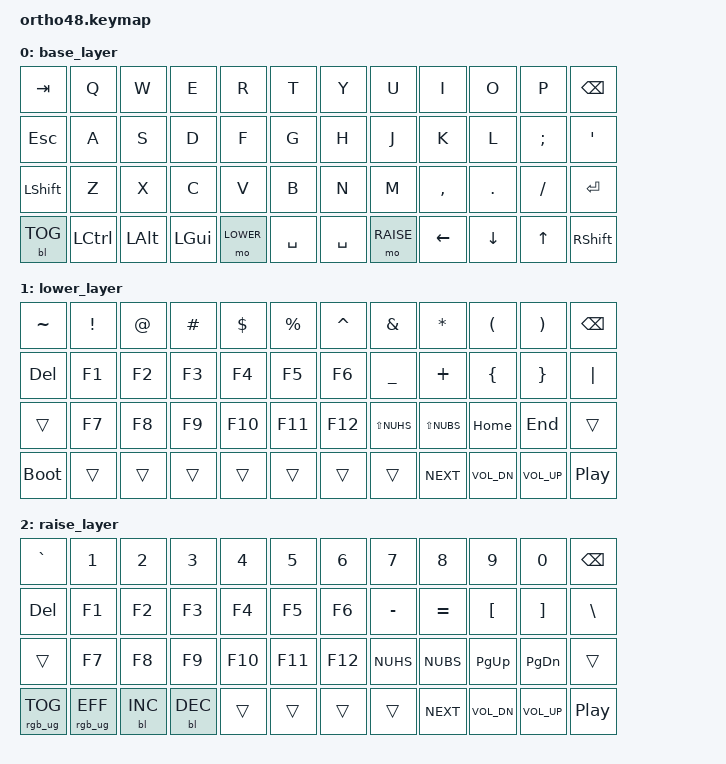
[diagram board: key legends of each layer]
// Copyright (c) 2024 will-hedges <https://github.com/will-hedges>
// SPDX-License-Identifier: MIT


/*
    NOTE: I have not used an RGB strip with this keyboard, so all RGB features are UNTESTED. 
        See RGB config in:
            * ./boards/pillbug.overlay
            * ./Kconfig.defconfig
            * ./ortho48.overlay
*/


#include <behaviors.dtsi>
#include <dt-bindings/zmk/keys.h>
#include <dt-bindings/zmk/backlight.h>
#include <dt-bindings/zmk/rgb.h>


#define BASE  0
#define LOWER 1
#define RAISE 2


/ {
    keymap {
        compatible = "zmk,keymap";

        base_layer {
            /* BASE
            *  -----------------------------------------------------------------------------------.
            * | Tab  |   Q  |   W  |   E  |   R  |   T  |   Y  |   U  |   I  |   O  |   P  | Bksp |
            * |------+------+------+------+------+-------------+------+------+------+------+------|
            * | Esc  |   A  |   S  |   D  |   F  |   G  |   H  |   J  |   K  |   L  |   ;  |  "   |
            * |------+------+------+------+------+------|------+------+------+------+------+------|
            * | Shift|   Z  |   X  |   C  |   V  |   B  |   N  |   M  |      |   .  |   /  |Enter |
            * |------+------+------+------+------+------+------+------+------+------+------+------|
            * | Brite| Ctrl | Alt  | GUI  |Lower |    Space    |Raise | Left | Down |  Up  |Right |
            * `-----------------------------------------------------------------------------------'
            */

            bindings = <
                &kp TAB     &kp Q      &kp W     &kp E     &kp R      &kp T      &kp Y      &kp U      &kp I      &kp O     &kp P     &kp BSPC 
                &kp ESC     &kp A      &kp S     &kp D     &kp F      &kp G      &kp H      &kp J      &kp K      &kp L     &kp SEMI  &kp SQT 
                &kp LSHFT   &kp Z      &kp X     &kp C     &kp V      &kp B      &kp N      &kp M      &kp COMMA  &kp DOT   &kp FSLH  &kp ENTER  
                &bl BL_TOG  &kp LCTRL  &kp LALT  &kp LGUI  &mo LOWER  &kp SPACE  &kp SPACE  &mo RAISE  &kp LEFT   &kp DOWN  &kp UP    &kp RSHFT
            >;
        };

        lower_layer {
            /* LOWER
            *  -----------------------------------------------------------------------------------.
            * |   ~  |   !  |   @  |   #  |   $  |   %  |   ^  |   &  |   *  |   (  |   )  | Bksp |
            * |------+------+------+------+------+-------------+------+------+------+------+------|
            * | Del  |  F1  |  F2  |  F3  |  F4  |  F5  |  F6  |   _  |   +  |   {  |   }  |  |   |
            * |------+------+------+------+------+------|------+------+------+------+------+------|
            * |      |  F7  |  F8  |  F9  |  F10 |  F11 |  F12 |ISO ~ |ISO | | Home | End  |      |
            * |------+------+------+------+------+------+------+------+------+------+------+------|
            * | BOOT |      |      |      |      |             |      | Next | Vol- | Vol+ | Play |
            * `-----------------------------------------------------------------------------------'
            */

            bindings = <
                &kp TILDE    &kp EXCL  &kp AT   &kp HASH  &kp DLLR  &kp PRCNT  &kp CARET  &kp AMPS      &kp ASTRK     &kp LPAR      &kp RPAR      &kp BSPC 
                &kp DEL      &kp F1    &kp F2   &kp F3    &kp F4    &kp F5     &kp F6     &kp UNDER     &kp PLUS      &kp LBRC      &kp RBRC      &kp PIPE 
                &trans       &kp F7    &kp F8   &kp F9    &kp F10   &kp F11    &kp F12    &kp LS(NUHS)  &kp LS(NUBS)  &kp HOME      &kp END       &trans 
                &bootloader  &trans    &trans   &trans    &trans    &trans     &trans     &trans        &kp C_NEXT    &kp C_VOL_DN  &kp C_VOL_UP  &kp C_PP
            >;
        };

        raise_layer {
            /* RAISE
            * ,-----------------------------------------------------------------------------------.
            * |   `  |   1  |   2  |   3  |   4  |   5  |   6  |   7  |   8  |   9  |   0  | Bksp |
            * |------+------+------+------+------+-------------+------+------+------+------+------|
            * | Del  |  F1  |  F2  |  F3  |  F4  |  F5  |  F6  |   -  |   =  |   [  |   ]  |  \   |
            * |------+------+------+------+------+------|------+------+------+------+------+------|
            * |      |  F7  |  F8  |  F9  |  F10 |  F11 |  F12 |ISO # |ISO / |Pg Up |Pg Dn |      |
            * |------+------+------+------+------+------+------+------+------+------+------+------|
            * |RGBTOG|RGBMOD| BL UP| BL DN|      |             |      | Next | Vol- | Vol+ | Play |
            * `-----------------------------------------------------------------------------------'
            */

            bindings = <
                &kp GRAVE        &kp N1           &kp N2      &kp N3      &kp N4   &kp N5   &kp N6   &kp N7     &kp N8      &kp N9        &kp N0        &kp BSPC 
                &kp DEL          &kp F1           &kp F2      &kp F3      &kp F4   &kp F5   &kp F6   &kp MINUS  &kp EQUAL   &kp LBKT      &kp RBKT      &kp BSLH 
                &trans           &kp F7           &kp F8      &kp F9      &kp F10  &kp F11  &kp F12  &kp NUHS   &kp NUBS    &kp PG_UP     &kp PG_DN     &trans 
                &rgb_ug RGB_TOG  &rgb_ug RGB_EFF  &bl BL_INC  &bl BL_DEC  &trans   &trans   &trans   &trans     &kp C_NEXT  &kp C_VOL_DN  &kp C_VOL_UP  &kp C_PP
            >;
        };
    };
};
